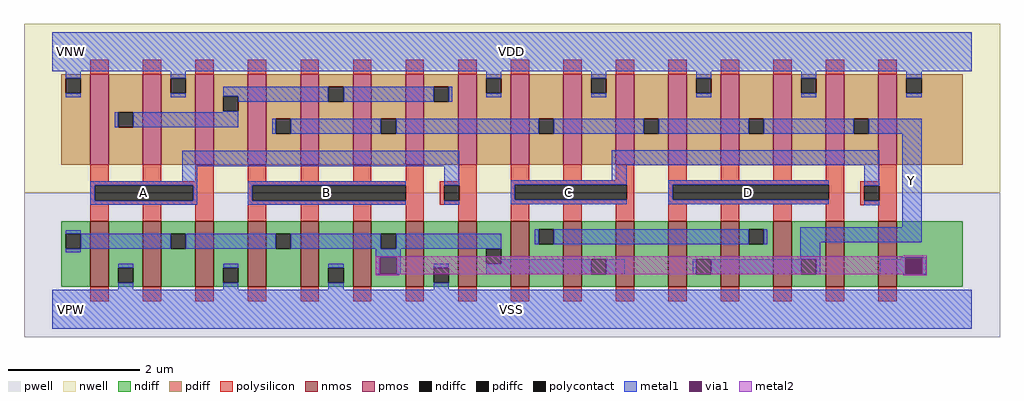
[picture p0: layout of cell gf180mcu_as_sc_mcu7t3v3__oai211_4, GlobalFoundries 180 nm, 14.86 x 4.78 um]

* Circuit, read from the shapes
.subckt gf180mcu_as_sc_mcu7t3v3__oai211_4 VDD VNW VPW VSS A B C D Y
XM1 VSS A n1 VPW nfet_03v3 w=1u l=0.28u m=4
XM2 n1 B VSS VPW nfet_03v3 w=1u l=0.28u m=4
XM3 n2 C n1 VPW nfet_03v3 w=1u l=0.28u m=2
XM4 n3 C n1 VPW nfet_03v3 w=1u l=0.28u
XM5 Y D n3 VPW nfet_03v3 w=1u l=0.28u
XM6 n2 D Y VPW nfet_03v3 w=1u l=0.28u m=2
XM7 n4 D Y VPW nfet_03v3 w=1u l=0.28u
XM8 n1 C n4 VPW nfet_03v3 w=1u l=0.28u
XM9 n5 A VDD VNW pfet_03v3 w=1.38u l=0.28u m=4
XM10 Y B n5 VNW pfet_03v3 w=1.38u l=0.28u m=4
XM11 Y C VDD VNW pfet_03v3 w=1.38u l=0.28u m=4
XM12 VDD D Y VNW pfet_03v3 w=1.38u l=0.28u m=4
.ends

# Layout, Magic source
magic
tech gf180mcuD
magscale 1 10
<< nwell >>
rect -86 354 2886 870
<< pwell >>
rect -86 -86 2886 354
<< nmos >>
rect 116 68 172 268
rect 276 68 332 268
rect 436 68 492 268
rect 596 68 652 268
rect 756 68 812 268
rect 916 68 972 268
rect 1076 68 1132 268
rect 1236 68 1292 268
rect 1396 68 1452 268
rect 1556 68 1612 268
rect 1716 68 1772 268
rect 1876 68 1932 268
rect 2036 68 2092 268
rect 2196 68 2252 268
rect 2356 68 2412 268
rect 2516 68 2572 268
<< pmos >>
rect 116 440 172 716
rect 276 440 332 716
rect 436 440 492 716
rect 596 440 652 716
rect 756 440 812 716
rect 916 440 972 716
rect 1076 440 1132 716
rect 1236 440 1292 716
rect 1396 440 1452 716
rect 1556 440 1612 716
rect 1716 440 1772 716
rect 1876 440 1932 716
rect 2036 440 2092 716
rect 2196 440 2252 716
rect 2356 440 2412 716
rect 2516 440 2572 716
<< ndiff >>
rect 28 230 116 268
rect 28 184 41 230
rect 87 184 116 230
rect 28 68 116 184
rect 172 127 276 268
rect 172 81 201 127
rect 247 81 276 127
rect 172 68 276 81
rect 332 230 436 268
rect 332 184 361 230
rect 407 184 436 230
rect 332 68 436 184
rect 492 127 596 268
rect 492 81 521 127
rect 567 81 596 127
rect 492 68 596 81
rect 652 230 756 268
rect 652 184 681 230
rect 727 184 756 230
rect 652 68 756 184
rect 812 127 916 268
rect 812 81 841 127
rect 887 81 916 127
rect 812 68 916 81
rect 972 230 1076 268
rect 972 184 1001 230
rect 1047 184 1076 230
rect 972 68 1076 184
rect 1132 127 1236 268
rect 1132 81 1161 127
rect 1207 81 1236 127
rect 1132 68 1236 81
rect 1292 184 1396 268
rect 1292 138 1321 184
rect 1367 138 1396 184
rect 1292 68 1396 138
rect 1452 244 1556 268
rect 1452 198 1481 244
rect 1527 198 1556 244
rect 1452 68 1556 198
rect 1612 152 1716 268
rect 1612 106 1641 152
rect 1687 106 1716 152
rect 1612 68 1716 106
rect 1772 68 1876 268
rect 1932 152 2036 268
rect 1932 106 1961 152
rect 2007 106 2036 152
rect 1932 68 2036 106
rect 2092 244 2196 268
rect 2092 198 2121 244
rect 2167 198 2196 244
rect 2092 68 2196 198
rect 2252 152 2356 268
rect 2252 106 2281 152
rect 2327 106 2356 152
rect 2252 68 2356 106
rect 2412 68 2516 268
rect 2572 152 2772 268
rect 2572 106 2601 152
rect 2647 106 2772 152
rect 2572 68 2772 106
<< pdiff >>
rect 28 703 116 716
rect 28 657 41 703
rect 87 657 116 703
rect 28 440 116 657
rect 172 600 276 716
rect 172 554 201 600
rect 247 554 276 600
rect 172 440 276 554
rect 332 703 436 716
rect 332 657 361 703
rect 407 657 436 703
rect 332 440 436 657
rect 492 649 596 716
rect 492 603 521 649
rect 567 603 596 649
rect 492 440 596 603
rect 652 580 756 716
rect 652 534 681 580
rect 727 534 756 580
rect 652 440 756 534
rect 812 678 916 716
rect 812 632 841 678
rect 887 632 916 678
rect 812 440 916 632
rect 972 580 1076 716
rect 972 534 1001 580
rect 1047 534 1076 580
rect 972 440 1076 534
rect 1132 678 1236 716
rect 1132 632 1161 678
rect 1207 632 1236 678
rect 1132 440 1236 632
rect 1292 703 1396 716
rect 1292 657 1321 703
rect 1367 657 1396 703
rect 1292 440 1396 657
rect 1452 580 1556 716
rect 1452 534 1481 580
rect 1527 534 1556 580
rect 1452 440 1556 534
rect 1612 703 1716 716
rect 1612 657 1641 703
rect 1687 657 1716 703
rect 1612 440 1716 657
rect 1772 580 1876 716
rect 1772 534 1801 580
rect 1847 534 1876 580
rect 1772 440 1876 534
rect 1932 703 2036 716
rect 1932 657 1961 703
rect 2007 657 2036 703
rect 1932 440 2036 657
rect 2092 580 2196 716
rect 2092 534 2121 580
rect 2167 534 2196 580
rect 2092 440 2196 534
rect 2252 703 2356 716
rect 2252 657 2281 703
rect 2327 657 2356 703
rect 2252 440 2356 657
rect 2412 580 2516 716
rect 2412 534 2441 580
rect 2487 534 2516 580
rect 2412 440 2516 534
rect 2572 703 2772 716
rect 2572 657 2601 703
rect 2647 657 2772 703
rect 2572 440 2772 657
<< ndiffc >>
rect 41 184 87 230
rect 201 81 247 127
rect 361 184 407 230
rect 521 81 567 127
rect 681 184 727 230
rect 841 81 887 127
rect 1001 184 1047 230
rect 1161 81 1207 127
rect 1321 138 1367 184
rect 1481 198 1527 244
rect 1641 106 1687 152
rect 1961 106 2007 152
rect 2121 198 2167 244
rect 2281 106 2327 152
rect 2601 106 2647 152
<< pdiffc >>
rect 41 657 87 703
rect 201 554 247 600
rect 361 657 407 703
rect 521 603 567 649
rect 681 534 727 580
rect 841 632 887 678
rect 1001 534 1047 580
rect 1161 632 1207 678
rect 1321 657 1367 703
rect 1481 534 1527 580
rect 1641 657 1687 703
rect 1801 534 1847 580
rect 1961 657 2007 703
rect 2121 534 2167 580
rect 2281 657 2327 703
rect 2441 534 2487 580
rect 2601 657 2647 703
<< polysilicon >>
rect 116 716 172 760
rect 276 716 332 760
rect 436 716 492 760
rect 596 716 652 760
rect 756 716 812 760
rect 916 716 972 760
rect 1076 716 1132 760
rect 1236 716 1292 760
rect 1396 716 1452 760
rect 1556 716 1612 760
rect 1716 716 1772 760
rect 1876 716 1932 760
rect 2036 716 2092 760
rect 2196 716 2252 760
rect 2356 716 2412 760
rect 2516 716 2572 760
rect 116 390 172 440
rect 276 390 332 440
rect 436 390 492 440
rect 116 377 492 390
rect 116 331 129 377
rect 429 331 492 377
rect 116 318 492 331
rect 116 268 172 318
rect 276 268 332 318
rect 436 268 492 318
rect 596 390 652 440
rect 756 390 812 440
rect 916 390 972 440
rect 1076 390 1132 440
rect 1236 390 1292 440
rect 596 377 1132 390
rect 596 331 609 377
rect 1076 331 1132 377
rect 596 318 1132 331
rect 1180 377 1292 390
rect 1180 331 1194 377
rect 1240 331 1292 377
rect 1180 318 1292 331
rect 596 268 652 318
rect 756 268 812 318
rect 916 268 972 318
rect 1076 268 1132 318
rect 1236 268 1292 318
rect 1396 392 1452 440
rect 1556 392 1612 440
rect 1716 392 1772 440
rect 1396 379 1772 392
rect 1396 333 1409 379
rect 1750 333 1772 379
rect 1396 320 1772 333
rect 1396 268 1452 320
rect 1556 268 1612 320
rect 1716 268 1772 320
rect 1876 392 1932 440
rect 2036 392 2092 440
rect 2196 392 2252 440
rect 2356 392 2412 440
rect 1876 379 2412 392
rect 2516 389 2572 440
rect 1876 333 1889 379
rect 2365 333 2412 379
rect 1876 320 2412 333
rect 1876 268 1932 320
rect 2036 268 2092 320
rect 2196 268 2252 320
rect 2356 268 2412 320
rect 2460 376 2572 389
rect 2460 330 2473 376
rect 2519 330 2572 376
rect 2460 317 2572 330
rect 2516 268 2572 317
rect 116 24 172 68
rect 276 24 332 68
rect 436 24 492 68
rect 596 24 652 68
rect 756 24 812 68
rect 916 24 972 68
rect 1076 24 1132 68
rect 1236 24 1292 68
rect 1396 24 1452 68
rect 1556 24 1612 68
rect 1716 24 1772 68
rect 1876 24 1932 68
rect 2036 24 2092 68
rect 2196 24 2252 68
rect 2356 24 2412 68
rect 2516 24 2572 68
<< polycontact >>
rect 129 331 429 377
rect 609 331 1076 377
rect 1194 331 1240 377
rect 1409 333 1750 379
rect 1889 333 2365 379
rect 2473 330 2519 376
<< metal1 >>
rect 0 724 2800 844
rect 41 703 87 724
rect 41 646 87 657
rect 361 703 407 724
rect 1321 703 1367 724
rect 361 646 407 657
rect 521 649 841 678
rect 567 632 841 649
rect 887 632 1161 678
rect 1207 632 1218 678
rect 1321 646 1367 657
rect 1641 703 1687 724
rect 1641 646 1687 657
rect 1961 703 2007 724
rect 1961 646 2007 657
rect 2281 703 2327 724
rect 2281 646 2327 657
rect 2601 703 2647 724
rect 2601 646 2647 657
rect 521 600 567 603
rect 190 554 201 600
rect 247 554 567 600
rect 670 534 681 580
rect 727 534 1001 580
rect 1047 534 1481 580
rect 1527 534 1801 580
rect 1847 534 2121 580
rect 2167 534 2441 580
rect 2487 534 2648 580
rect 396 436 1240 482
rect 396 390 442 436
rect 116 377 442 390
rect 116 331 129 377
rect 429 331 442 377
rect 116 318 442 331
rect 596 377 1076 390
rect 596 331 609 377
rect 596 318 1076 331
rect 1194 377 1240 436
rect 1704 438 2519 484
rect 1704 392 1750 438
rect 1194 318 1240 331
rect 1396 379 1750 392
rect 1396 333 1409 379
rect 1396 320 1750 333
rect 1876 379 2365 392
rect 1876 333 1889 379
rect 1876 320 2365 333
rect 2473 376 2519 438
rect 2473 317 2519 330
rect 2588 250 2648 534
rect 41 230 87 241
rect 87 184 361 230
rect 407 184 681 230
rect 727 184 1001 230
rect 1047 184 1367 230
rect 1470 198 1481 244
rect 1527 198 2121 244
rect 2167 198 2178 244
rect 2278 204 2648 250
rect 41 173 87 184
rect 985 158 1061 184
rect 201 127 247 138
rect 201 60 247 81
rect 521 127 567 138
rect 521 60 567 81
rect 841 127 887 138
rect 985 106 997 158
rect 1049 106 1061 158
rect 2278 152 2338 204
rect 2586 152 2598 158
rect 1367 138 1641 152
rect 1161 127 1207 138
rect 841 60 887 81
rect 1321 106 1641 138
rect 1687 106 1743 152
rect 1950 106 1961 152
rect 2007 106 2281 152
rect 2327 106 2338 152
rect 2520 106 2598 152
rect 2650 106 2662 158
rect 1161 60 1207 81
rect 0 -60 2800 60
<< via1 >>
rect 997 106 1049 158
rect 2598 152 2650 158
rect 2598 106 2601 152
rect 2601 106 2647 152
rect 2647 106 2650 152
<< metal2 >>
rect 2592 162 2663 164
rect 985 158 2663 162
rect 985 106 997 158
rect 1049 106 2598 158
rect 2650 106 2663 158
rect 985 104 1056 106
rect 2592 104 2663 106
<< labels >>
flabel metal1 s 0 724 2800 844 0 FreeSans 400 0 0 0 VDD
port 1 nsew power bidirectional abutment
flabel metal1 s 0 -60 2800 60 0 FreeSans 400 0 0 0 VSS
port 4 nsew ground bidirectional abutment
flabel nwell s 10 734 110 834 0 FreeSans 400 0 0 0 VNW
port 2 nsew power bidirectional
flabel pwell s 10 -50 110 50 0 FreeSans 400 0 0 0 VPW
port 3 nsew ground bidirectional
flabel metal1 116 318 442 390 0 FreeSans 200 0 0 0 A
port 5 nsew signal input
flabel metal1 596 318 1076 390 0 FreeSans 200 0 0 0 B
port 6 nsew signal input
flabel metal1 1396 320 1750 392 0 FreeSans 200 0 0 0 C
port 7 nsew signal input
flabel metal1 1876 320 2365 392 0 FreeSans 200 0 0 0 D
port 8 nsew signal input
flabel metal1 2588 204 2648 580 0 FreeSans 200 0 0 0 Y
port 9 nsew signal output
<< properties >>
string FIXED_BBOX 0 0 2800 784
string LEFclass CORE
string LEFsite unithd
string LEFsymmetry X Y
string MASKHINTS_NPLUS -16 -46 2816 354
string MASKHINTS_PPLUS -16 354 2816 830
<< end >>
